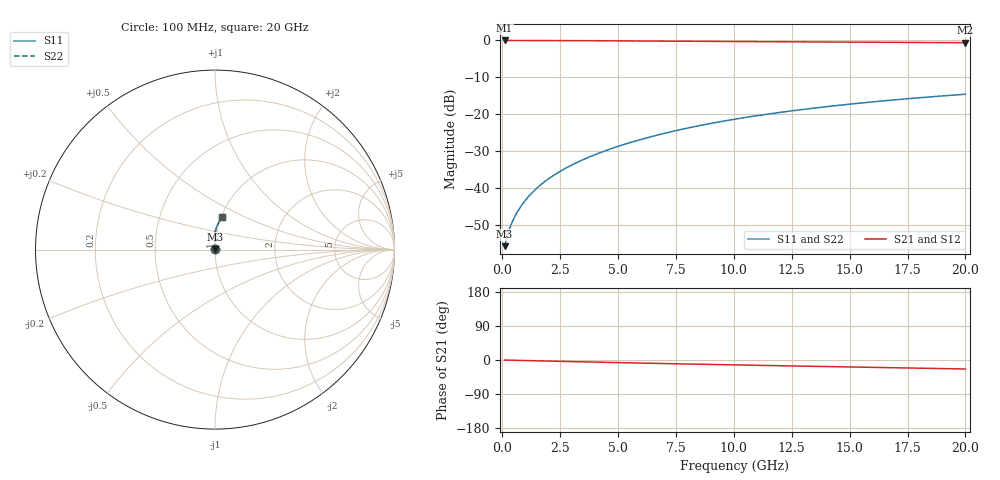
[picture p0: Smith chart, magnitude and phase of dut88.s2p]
! Touchstone file exported from HFSS 2024.1.0
!  File:  C:/UserFiles/LocalFiles/RDL_TSV_Batchsim/temp_RDL_top_88_1778682764.aedt
!  Generated:  10:34:44 PM May 13, 2026
!  Design:  RDL_top
!  Project:  temp_RDL_top_88_1778682764
!  Setup:  Setup1
!  Solution:  Sweep
! Variables:
!  dtsv = 10.80580581um
!  hbump = 3um
!  htsv = 96.08um
!  ldown = 100um
!  lrdl = 356.06um
!  p = 40
!  p1 = 45.99um
!  rhole = 1um
!  t = 450um
!  tdown = 3.915915916um
!  trdl = 3.85um
!  wdown = 15.38538539um
!  wrdl = 27.83um
# GHz S MA R 50.000000
! Terminal data exported
! Port[1] = Box2_T1
! Port[2] = Box2_T2
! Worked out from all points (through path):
!   200 points, 100 MHz to 20 GHz, reference 50 ohm
!   highest |S21| = -0.01 dB at 100 MHz (marker M1); lowest = -0.6 dB at 20 GHz (marker M2)
!   group delay of S21, straight-line fit = 3.24 ps
!   lowest |S11| = -55.7 dB at 100 MHz (marker M3), VSWR 1.00, Z = 50.1 + j0.0819 ohm
!   |S11| at or under -10 dB: start of sweep to end of sweep
!   |S22| runs from -55.7 to -14.6 dB; largest |S21 - S12| = 2e-15
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0.1  0.001638 29.9  0.9986 -0.2  0.9986 -0.2  0.001638 29.9
! Gamma 0 0 0 0
! Port Impedance 50 0 50 0
0.2  0.002179 45.4  0.9984 -0.3  0.9984 -0.3  0.002179 45.4
0.3  0.00275 53.8  0.9983 -0.4  0.9983 -0.4  0.002749 53.8
0.4  0.003314 59.5  0.9982 -0.6  0.9982 -0.6  0.003314 59.5
0.5  0.003881 63.9  0.9981 -0.7  0.9981 -0.7  0.00388 63.9
0.6  0.004456 67.4  0.998 -0.9  0.998 -0.9  0.004456 67.4
0.8  0.005641 72.6  0.9978 -1.2  0.9978 -1.2  0.00564 72.6
1  0.006864 76.4  0.9975 -1.4  0.9975 -1.4  0.006864 76.4
1.2  0.00812 79.2  0.9973 -1.7  0.9973 -1.7  0.00812 79.2
1.7  0.01138 84.1  0.9964 -2.4  0.9964 -2.4  0.01138 84.0
2.2  0.01479 87.1  0.9953 -3.1  0.9953 -3.1  0.01479 87.1
2.8  0.01908 89.6  0.9938 -4.0  0.9938 -4.0  0.01908 89.6
3.5  0.02438 91.6  0.9916 -4.9  0.9916 -4.9  0.02438 91.6
4.2  0.02999 92.9  0.9891 -5.9  0.9891 -5.9  0.02999 92.9
5  0.03678 93.7  0.9861 -6.9  0.9861 -6.9  0.03677 93.7
6.8  0.0533 93.8  0.9787 -9.2  0.9787 -9.2  0.05329 93.8
8.4  0.06904 92.7  0.9721 -11.1  0.9721 -11.1  0.06903 92.7
10.1  0.08639 90.9  0.9654 -13.0  0.9654 -13.0  0.08638 90.9
11.7  0.103 88.8  0.9593 -14.8  0.9593 -14.8  0.103 88.8
13.4  0.1206 86.5  0.9532 -16.7  0.9532 -16.7  0.1206 86.5
16.7  0.1543 81.8  0.9421 -20.2  0.9421 -20.2  0.1543 81.8
20  0.1868 77.3  0.9314 -23.7  0.9314 -23.7  0.1867 77.2
